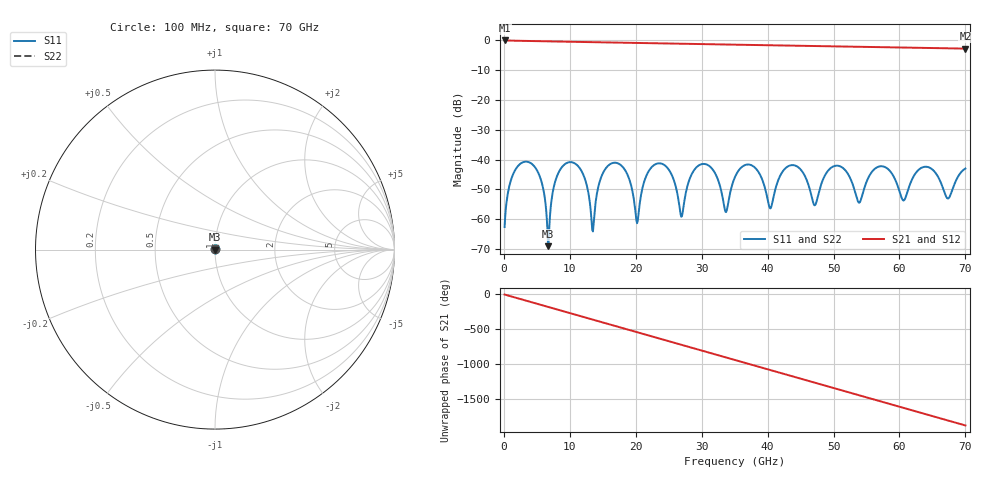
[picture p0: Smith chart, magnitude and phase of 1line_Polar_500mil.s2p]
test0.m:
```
%% Basic Information
%%% Overview
% Transmission-line parameters extractor
% MATLAB implementation of Patent US8892414B1
% Author Name: Guorui Wei
% Created in: 2020-03-15 12:45

clc; clear; close all;

%% Import data

lineLength = 0.0127; % Line Length(meters)

% Import simulated data
filename_1line = 'data/1line/1line_Polar_500mil.s2p';
SingleEnded2PortData = read(rfdata.data,filename_1line);
freq = SingleEnded2PortData.Freq;
freqPts = length(freq);
z0 = SingleEnded2PortData.Z0; % Reference Impedance
SingleEnded2PortData.S_Parameters = snp2smp(SingleEnded2PortData.S_Parameters,...
    z0,[1 2]); % Classic style
numOfLines = size(SingleEnded2PortData.S_Parameters,1)/2;

% Import Cadence-PowerSI-extracted params
filename_PowerSI = 'data/1line/Transmission_RLGC_res.csv';
opts = detectImportOptions(filename_PowerSI);
rlgc_PowerSI_mat = readtable(filename_PowerSI);
% Allocate memory
rlgc_PowerSI.R = zeros(numOfLines,numOfLines,freqPts);
rlgc_PowerSI.L = rlgc_PowerSI.R;
rlgc_PowerSI.C = rlgc_PowerSI.R;
rlgc_PowerSI.G = rlgc_PowerSI.R;
% Import data
for idx = 1:freqPts
    rlgc_PowerSI.R(:,:,idx) = rlgc_PowerSI_mat{4*idx-3,3}/lineLength;
    rlgc_PowerSI.L(:,:,idx) = rlgc_PowerSI_mat{4*idx-2,3}/lineLength;
    rlgc_PowerSI.G(:,:,idx) = rlgc_PowerSI_mat{4*idx-1,3}/lineLength;
    rlgc_PowerSI.C(:,:,idx) = rlgc_PowerSI_mat{4*idx-0,3}/lineLength;
end

%% Extract RLGC params using proposed method

rlgc_t = s2rlgc_t(SingleEnded2PortData.S_Parameters,lineLength,freq,z0);
check_consistence(rlgc_t.R, rlgc_t.L, rlgc_t.G, rlgc_t.C, lineLength, freq, z0);

%% Extracted RLGC compared with Cadence Sigrity PowerSI

figure('Name','RLGC Comparison')
sgtitle({'Comparison Between Proposed Algorithm and';'Cadence Sigrity PowerSI: Extracted RLGC'})
subplot(221)
plot(freq/1e9,squeeze(rlgc_t.R(1,1,:)),'k-')
hold on
plot(freq/1e9,squeeze(rlgc_PowerSI.R(1,1,:)),'g--')
hold off
grid on
xlabel('Freq(GHz)');
ylabel('R(Ohms/m)');
title('R Comparison');
legend({'Proposed Algorithm','Cadence Sigrity PowerSI'},'Location','best','NumColumns',1)
legend('boxoff')

subplot(222)
plot(freq/1e9,squeeze(rlgc_t.L(1,1,:)),'k-')
hold on
plot(freq/1e9,squeeze(rlgc_PowerSI.L(1,1,:)),'g--')
hold off
grid on
xlabel('Freq(GHz)');
ylabel('L(H/m)');
title('L Comparison');
legend({'Proposed Algorithm','Cadence Sigrity PowerSI'},'Location','best','NumColumns',1)
legend('boxoff')

subplot(223)
plot(freq/1e9,squeeze(rlgc_t.G(1,1,:)),'k-')
hold on
plot(freq/1e9,squeeze(rlgc_PowerSI.G(1,1,:)),'g--')
hold off
grid on
xlabel('Freq(GHz)');
ylabel('G(S/m)');
title('G Comparison');
legend({'Proposed Algorithm','Cadence Sigrity PowerSI'},'Location','best','NumColumns',1)
legend('boxoff')

subplot(224)
plot(freq/1e9,squeeze(rlgc_t.C(1,1,:)),'k-')
hold on
plot(freq/1e9,squeeze(rlgc_PowerSI.C(1,1,:)),'g--')
hold off
grid on
xlabel('Freq(GHz)');
ylabel('C(F/m)');
title('C Comparison');
legend({'Proposed Algorithm','Cadence Sigrity PowerSI'},'Location','best','NumColumns',1)
legend('boxoff')
```
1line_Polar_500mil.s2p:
! www.PolarInstruments.com
! File Export V10.11 [9.03]
! For hxji@mail.xidian.edu.cn;QQ=47399897
! File : D:\SJTU\Bachelor\thesis\Multi-line\transmission-line-params-extractor\data\1line\1line_Polar_500mil.s2p
! Polar  PCB Transmission Line Field Solver  v11.04.00
# MHz S DB R 50.00
! Line Length = 0.013m ( 0.50 inch )
!  PORT#  PORT#
!  Z1 = 50.00  Z2 = 50.00
!  1 --|  |-- 2
! PORT 1: INPUT NET 1
! PORT 2: OUTPUT NET 1
! FREQ  S11  S21  S12  S22
!  DB  ANG  DB  ANG  DB  ANG  DB  ANG
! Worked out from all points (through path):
!   700 points, 100 MHz to 70 GHz, reference 50 ohm
!   highest |S21| = -0.01 dB at 100 MHz (marker M1); lowest = -2.7 dB at 70 GHz (marker M2)
!   group delay of S21, straight-line fit = 74.2 ps
!   lowest |S11| = -69.0 dB at 6.7 GHz (marker M3), VSWR 1.00, Z = 50 + j0.0188 ohm
!   |S11| at or under -10 dB: start of sweep to end of sweep
!   |S22| runs from -69.0 to -40.7 dB; largest |S21 - S12| = 0
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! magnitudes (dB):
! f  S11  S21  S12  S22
! 100 MHz  -62.6  0.0  0.0  -62.6
! 3.5 GHz  -40.7  -0.2  -0.2  -40.7
! 6.7 GHz  -69.0  -0.3  -0.3  -69.0
! 9.8 GHz  -40.9  -0.4  -0.4  -40.9
! 13.5 GHz  -64.1  -0.6  -0.6  -64.1
! 16.5 GHz  -41.1  -0.7  -0.7  -41.1
! 20.2 GHz  -61.3  -0.9  -0.9  -61.3
! 23.1 GHz  -41.4  -1.0  -1.0  -41.4
! 26.9 GHz  -59.2  -1.1  -1.1  -59.2
! 35.1 GHz  -45.6  -1.4  -1.4  -45.6
! 70 GHz  -43.0  -2.7  -2.7  -43.0
